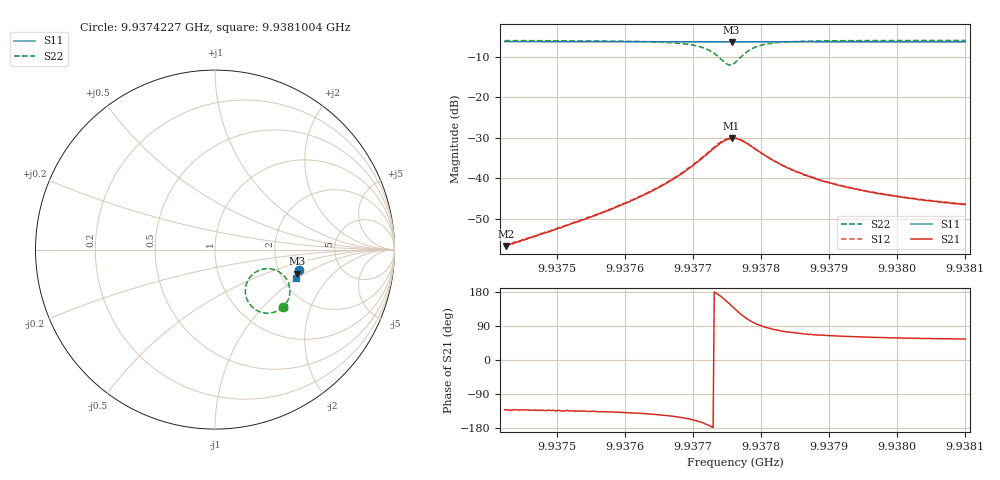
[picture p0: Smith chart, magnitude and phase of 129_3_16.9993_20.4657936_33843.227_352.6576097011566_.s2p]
#  HZ  S  RI  R  50.00
! Rohde & Schwarz Vector Network Analyzer
! Rohde-Schwarz,ZNB20-2Port,1311601062101988,3.16
! Created: UTC 3/20/2024, 10:57:52 PM
! freq[Hz]  re:S11  im:S11  re:S21  im:S21  re:S12  im:S12  re:S22  im:S22
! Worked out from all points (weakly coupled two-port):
!   401 points, 9.9374227 GHz to 9.9381004 GHz, reference 50 ohm
!   highest |S21| = -30.16 dB at 9.9377565 GHz (marker M1); lowest = -56.7 dB at 9.9374244 GHz (marker M2)
!   lowest |S11| = -6.4 dB at 9.9377565 GHz (marker M3), VSWR 2.83, Z = 124 - j43.2 ohm
!   |S11| at or under -10 dB: nowhere
!   |S22| runs from -12.1 to -6.0 dB; largest |S21 - S12| = 0.0015
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9.93742274e9  0.4693 -0.1144  -0.000958 -0.0011  -0.001 -0.00108  0.3801 -0.3196
9.93742443e9  0.4691 -0.1144  -0.000956 -0.0011  -0.000991 -0.00112  0.38 -0.3198
9.93753624e9  0.4666 -0.1221  -0.00212 -0.00219  -0.00223 -0.00213  0.3638 -0.3323
9.93760401e9  0.4651 -0.1267  -0.00384 -0.0033  -0.00393 -0.00333  0.3458 -0.3426
9.93764975e9  0.4637 -0.1299  -0.00631 -0.00446  -0.0065 -0.00446  0.3221 -0.3509
9.93768363e9  0.4625 -0.1323  -0.0101 -0.00534  -0.0104 -0.00531  0.288 -0.3542
9.93770226e9  0.4617 -0.1336  -0.014 -0.00526  -0.0144 -0.00503  0.2567 -0.349
9.93771751e9  0.4607 -0.1345  -0.0184 -0.00377  -0.0191 -0.00358  0.2207 -0.3311
9.93772937e9  0.4598 -0.1349  -0.0229 -0.000719  -0.0236 7.52e-05  0.1892 -0.2982
9.93774123e9  0.459 -0.1351  -0.0268 0.006  -0.0272 0.00721  0.1691 -0.238
9.9377497e9  0.4585 -0.1349  -0.0269 0.013  -0.027 0.0144  0.1784 -0.1825
9.93775647e9  0.4584 -0.1345  -0.0249 0.0186  -0.0244 0.02  0.2062 -0.1415
9.93776156e9  0.4587 -0.1344  -0.0218 0.022  -0.0209 0.0232  0.2362 -0.12
9.93777003e9  0.4593 -0.1344  -0.0152 0.0251  -0.0143 0.0262  0.2916 -0.1062
9.93778019e9  0.4598 -0.135  -0.0081 0.0252  -0.00719 0.0257  0.3475 -0.1191
9.93779883e9  0.4603 -0.1365  -0.000628 0.0209  0.000122 0.0208  0.3995 -0.1669
9.93783271e9  0.4602 -0.1394  0.00363 0.0137  0.00381 0.0137  0.4172 -0.2291
9.93787506e9  0.4593 -0.1427  0.00401 0.00945  0.00413 0.00947  0.4122 -0.2659
9.93791741e9  0.4583 -0.1457  0.00368 0.0072  0.00383 0.00714  0.4051 -0.2849
9.93798857e9  0.4566 -0.1504  0.00321 0.00525  0.00334 0.00529  0.3953 -0.3025
9.93803431e9  0.4554 -0.1535  0.00296 0.00457  0.00306 0.00456  0.3902 -0.31
9.93810038e9  0.4537 -0.1577  0.00271 0.00392  0.0028 0.00386  0.3837 -0.3182
